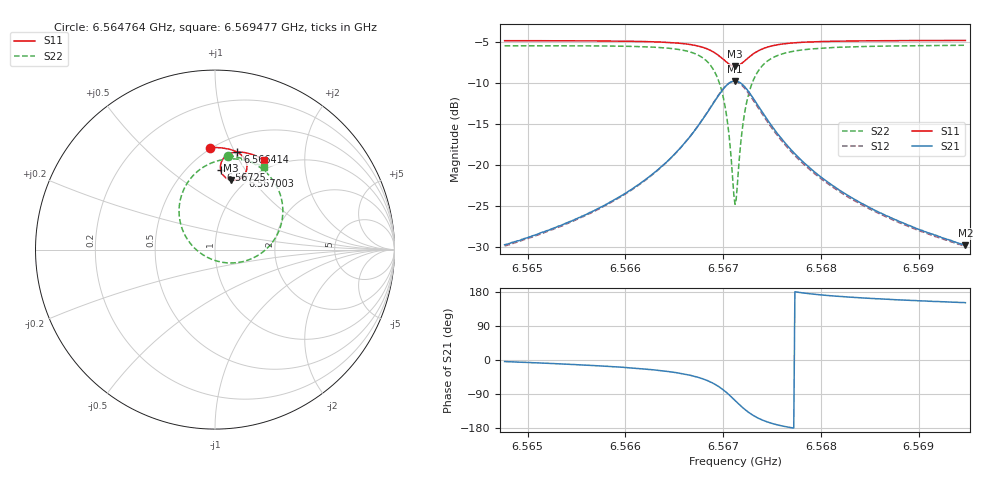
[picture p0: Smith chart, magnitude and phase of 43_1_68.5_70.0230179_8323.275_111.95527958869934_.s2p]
#  HZ  S  RI  R  50.00
! Rohde & Schwarz Vector Network Analyzer
! Rohde-Schwarz,ZNB20-2Port,1311601062101988,3.16
! Created: UTC 3/20/2024, 4:50:25 PM
! freq[Hz]  re:S11  im:S11  re:S21  im:S21  re:S12  im:S12  re:S22  im:S22
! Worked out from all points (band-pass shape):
!   401 points, 6.564764 GHz to 6.569477 GHz, reference 50 ohm
!   highest |S21| = -9.80 dB at 6.567121 GHz (marker M1); lowest = -29.8 dB at 6.569477 GHz (marker M2)
!   |S21| within 3 dB of the highest: 6.566884 GHz to 6.567356 GHz (472.6 kHz wide, 0.0072 % of centre)
!   lowest |S11| = -8.0 dB at 6.567121 GHz (marker M3), VSWR 2.32, Z = 42.8 + j39.4 ohm
!   |S11| at or under -10 dB: nowhere
!   |S22| runs from -24.8 to -5.4 dB; largest |S21 - S12| = 0.017
!   S11 on the Smith chart (normalised r, x): 6.564764 GHz: 0.49, +0.82; 6.566414 GHz: 0.65, +1.02; 6.567003 GHz: 0.92, +0.93; 6.56725 GHz: 0.71, +0.78; 6.569477 GHz: 0.86, +1.29
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6.5647639e9  -0.0299 0.5687  0.0324 -0.00237  0.0318 -0.00286  0.0745 0.5243
6.5655534e9  0.0369 0.5668  0.0473 -0.011  0.0464 -0.0117  0.156 0.5058
6.5660012e9  0.079 0.5595  0.0629 -0.0227  0.062 -0.0234  0.2158 0.4799
6.5663429e9  0.1162 0.5466  0.0838 -0.0436  0.0826 -0.0446  0.277 0.4372
6.5664136e9  0.1246 0.5422  0.0893 -0.0505  0.0882 -0.0519  0.2924 0.4226
6.5666493e9  0.1554 0.518  0.112 -0.0927  0.1103 -0.0948  0.3499 0.3405
6.566826e9  0.1762 0.4787  0.1219 -0.1621  0.1186 -0.166  0.378 0.2061
6.5669321e9  0.1747 0.4387  0.1005 -0.2327  0.0937 -0.2373  0.3405 0.0722
6.5670028e9  0.1566 0.4079  0.0542 -0.2848  0.0427 -0.2884  0.2523 -0.0241
6.5670499e9  0.1333 0.3919  0.00296 -0.3101  -0.0114 -0.3106  0.156 -0.0668
6.5670971e9  0.103 0.3858  -0.0601 -0.3163  -0.0757 -0.3117  0.0407 -0.0707
6.5671206e9  0.087 0.3879  -0.0927 -0.31  -0.1075 -0.3026  -0.0166 -0.0548
6.5671442e9  0.0719 0.3933  -0.1233 -0.2973  -0.1369 -0.2873  -0.0691 -0.0279
6.5672031e9  0.0431 0.4182  -0.1814 -0.2454  -0.1896 -0.2315  -0.1634 0.0728
6.5672503e9  0.0321 0.4433  -0.2049 -0.1957  -0.2085 -0.1816  -0.1957 0.1635
6.5673445e9  0.0353 0.4871  -0.2066 -0.1113  -0.2046 -0.1005  -0.1836 0.3109
6.5674859e9  0.0624 0.5233  -0.1708 -0.0412  -0.1668 -0.0353  -0.106 0.428
6.5676509e9  0.0943 0.5391  -0.1315 -0.00808  -0.1281 -0.00492  -0.0244 0.4808
6.5679102e9  0.1331 0.5441  -0.0923 0.00952  -0.0899 0.0109  0.0625 0.5036
6.5682637e9  0.1731 0.5392  -0.0637 0.0154  -0.0621 0.016  0.1361 0.503
6.5686997e9  0.213 0.5279  -0.0451 0.0164  -0.0442 0.0167  0.1964 0.4902
6.5694774e9  0.2735 0.5013  -0.0282 0.0155  -0.0277 0.0157  0.2724 0.4592
